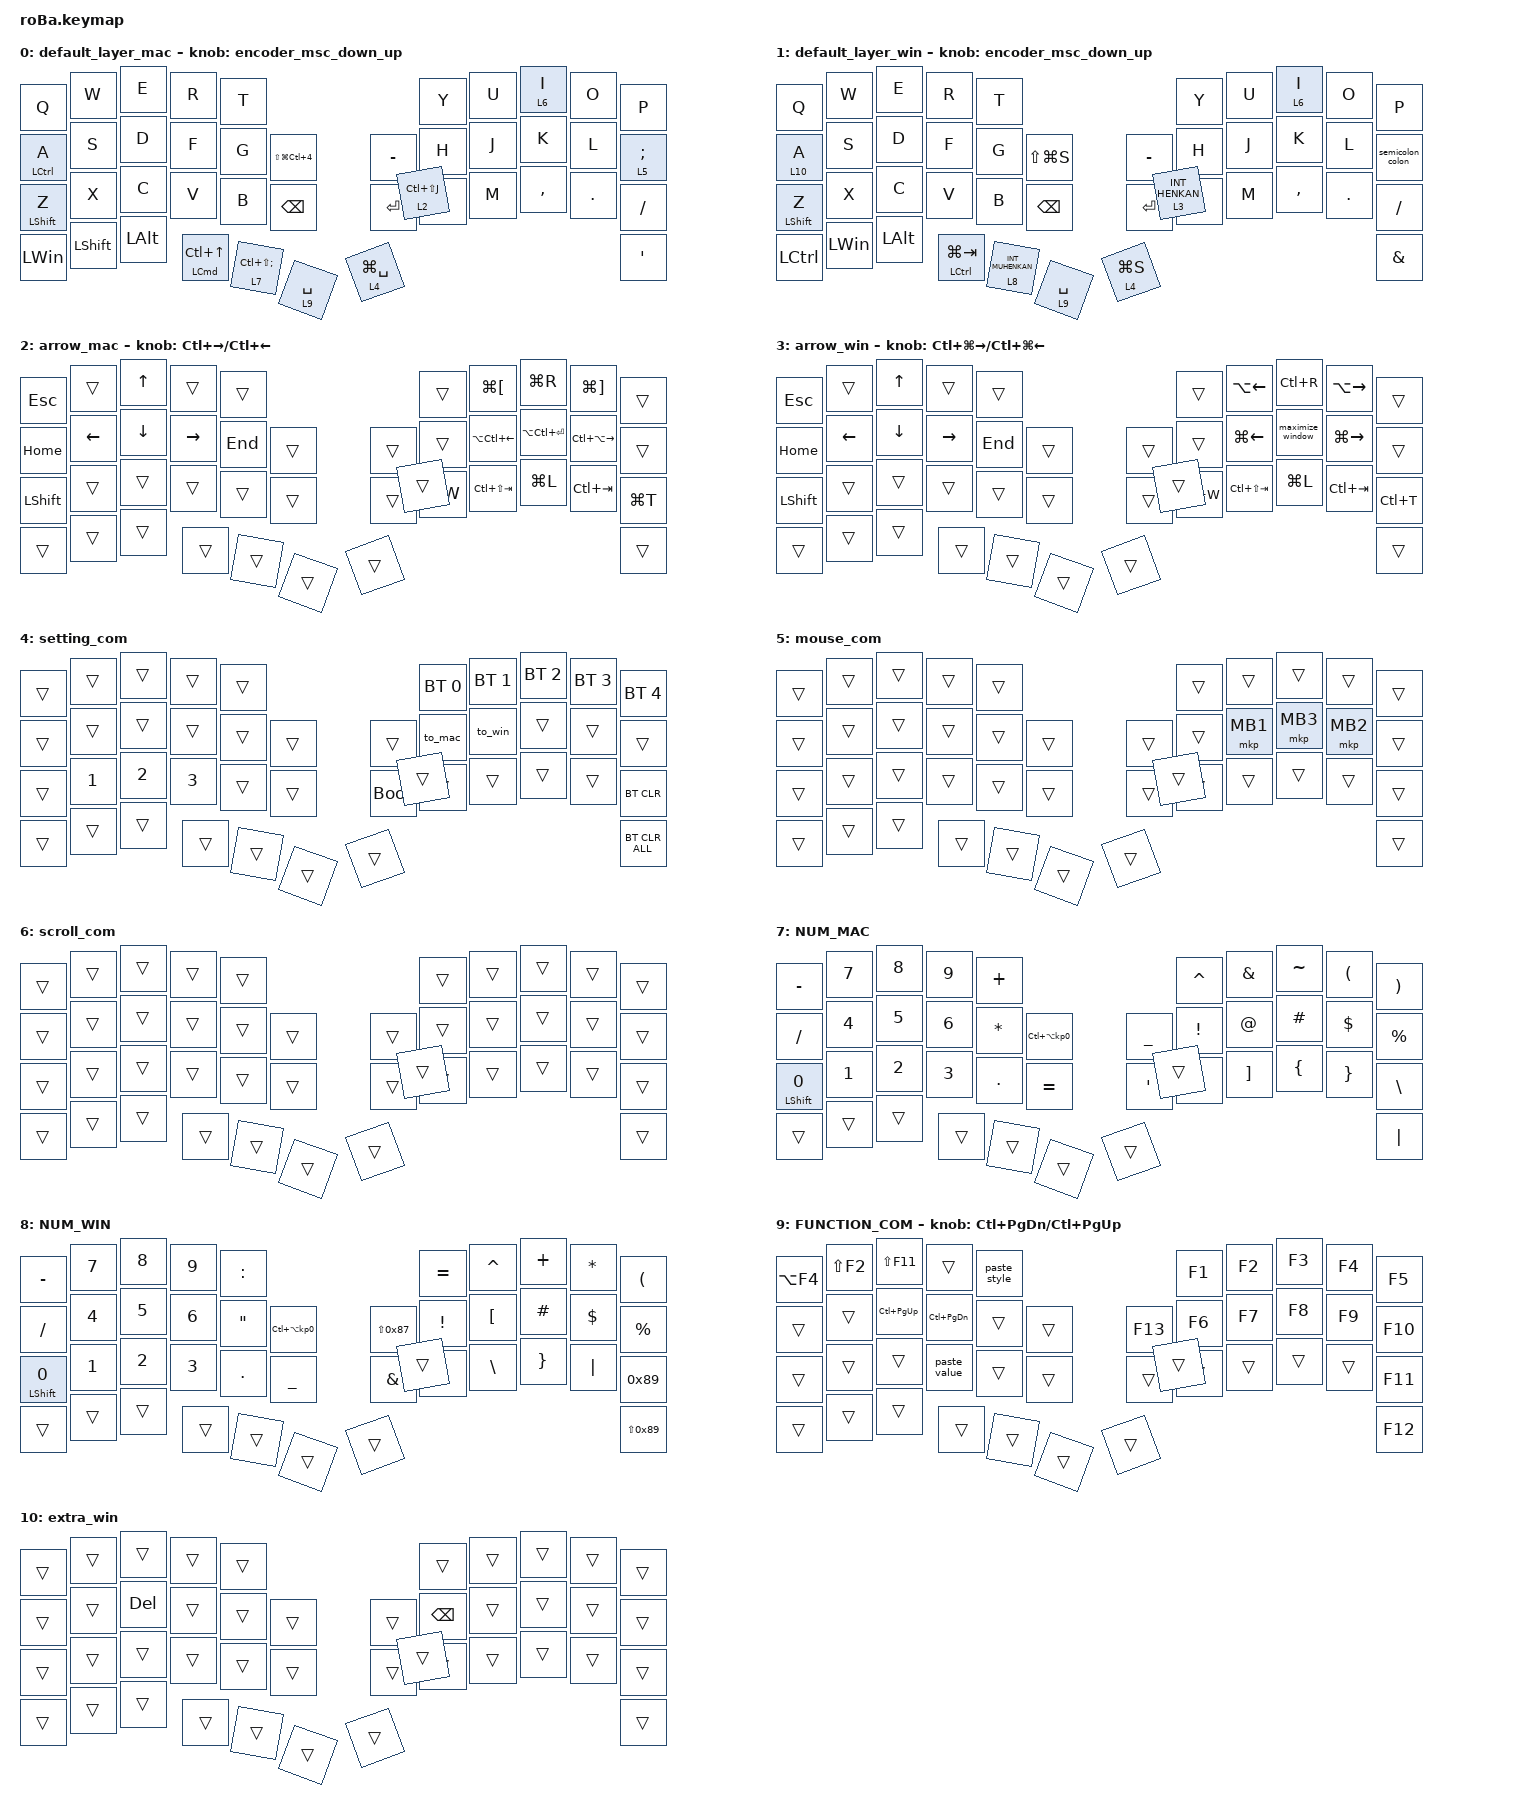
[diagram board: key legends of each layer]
#include <behaviors.dtsi>
#include <dt-bindings/zmk/bt.h>
#include <dt-bindings/zmk/keys.h>
#include <dt-bindings/zmk/pointing.h>

#define ZMK_POINTING_DEFAULT_SCRL_VAL 80
// OS設定を日本語キーボードのまま使用するための変換定義
#define JP_DQUOTE       AT                // "
#define JP_AMPERSAND    CARET             // &
#define JP_QUOTE        AMPERSAND         // '
#define JP_EQUAL        UNDER             // =
#define JP_CARET        EQUAL             // ^
#define JP_YEN          0x89              // ¥
#define JP_PLUS         COLON             // +
#define JP_TILDE        PLUS              // ~
#define JP_PIPE         LS(0x89)          // |
#define JP_AT           LEFT_BRACKET      // @
#define JP_COLON        SINGLE_QUOTE      // :
#define JP_ASTERISK     DOUBLE_QUOTES     // *
#define JP_BACKQUOTE    LEFT_BRACE        // `
#define JP_UNDERSCORE   LS(0x87)          // _
#define JP_LBRACKET     RIGHT_BRACKET     // [
#define JP_RBRACKET     BACKSLASH         // ]
#define JP_LPAREN       ASTERISK          // (
#define JP_RPAREN       LEFT_PARENTHESIS  // )
#define JP_LBRACE       RIGHT_BRACE       // {
#define JP_RBRACE       PIPE              // }
#define JP_KANA         LANGUAGE_1        // かな
#define JP_EISU         LANGUAGE_2        // 英数
#define JP_HANZEN       GRAVE             // 半角/全角

&mt {
    flavor = "balanced";
    quick-tap-ms = <0>;
};

&trackball {
    automouse-layer = <5>;
    scroll-layers = <6>;

    // arrows {
    //     layers = <3>;
    //     bindings =
    //         <&kp RIGHT_ARROW>,
    //         <&kp LEFT_ARROW>,
    //         <&kp UP_ARROW>,
    //         <&kp DOWN_ARROW>;
    //     tick = <10>;
    //     wait-ms = <5>;
    //     tap-ms = <5>;
    // };
};

/ {
    combos {
        compatible = "zmk,combos";

        tab {
            bindings = <&kp TAB>;
            key-positions = <11 12>;
        };

        shift_tab {
            bindings = <&kp LS(TAB)>;
            key-positions = <12 13>;
        };

        muhennkann {
            bindings = <&to_layer_0 INT_MUHENKAN>;
            key-positions = <11 10>;
        };

        double_quotation {
            bindings = <&kp DOUBLE_QUOTES>;
            key-positions = <20 21>;
            layers = <0 2 7>;
        };

        double_quotation_win {
            bindings = <&kp AT>;
            key-positions = <20 21>;
            layers = <1 3 8>;
        };

        eq {
            bindings = <&kp EQUAL>;
            key-positions = <24 25>;
            layers = <0 2 7>;
        };

        minus {
            bindings = <&kp MINUS>;
            key-positions = <18 19>;
        };

        eq_win {
            bindings = <&kp UNDER>;
            key-positions = <24 25>;
            layers = <1 3 8>;
        };
    };

    macros {
        to_layer_0: to_layer_0 {
            compatible = "zmk,behavior-macro-one-param";
            #binding-cells = <1>;
            bindings = <&to 0 &macro_param_1to1 &kp MACRO_PLACEHOLDER>;
            label = "TO_LAYER_0";
        };

        maximize_window: maximize_window {
            compatible = "zmk,behavior-macro";
            #binding-cells = <0>;
            bindings = <&kp LA(SPACE) &kp X>;
            label = "MAXIMIZE_WINDOW";
        };

        to_mac: to_mac {
            compatible = "zmk,behavior-macro";
            #binding-cells = <0>;
            bindings =
                <&tog_off 0 &tog_off 1>,
                <&macro_wait_time 200>,
                <&tog_on 0>;

            label = "TO_MAC";
        };

        to_win: to_win {
            compatible = "zmk,behavior-macro";
            #binding-cells = <0>;
            bindings =
                <&tog_off 0 &tog_off 1>,
                <&macro_wait_time 200>,
                <&tog_on 1>;

            label = "TO_WIN";
        };

        paste_value: paste_value {
            compatible = "zmk,behavior-macro";
            #binding-cells = <0>;
            bindings = <&kp LA(LC(V)) &kp V &kp RETURN>;
            label = "PASTE_VALUE";
        };

        paste_style: paste_style {
            compatible = "zmk,behavior-macro";
            #binding-cells = <0>;
            bindings = <&kp LA(LC(V)) &kp T &kp RETURN>;
            label = "PASTE_STYLE";
        };
    };

    behaviors {
        lt_to_layer_0: lt_to_layer_0 {
            compatible = "zmk,behavior-hold-tap";
            label = "LAYER_TAP_TO_0";
            bindings = <&mo>, <&to_layer_0>;

            #binding-cells = <2>;
            tapping-term-ms = <200>;
        };

        encoder_msc_down_up: encoder_msc_down_up {
            compatible = "zmk,behavior-sensor-rotate";
            label = "ENCODER_MSC_DOWN_UP";
            #sensor-binding-cells = <0>;
            bindings = <&msc SCRL_DOWN>, <&msc SCRL_UP>;

            tap-ms = <20>;
        };

        tog_on: toggle_layer_on_only {
            compatible = "zmk,behavior-toggle-layer";
            #binding-cells = <1>;
            display-name = "Toggle Layer On";
            toggle-mode = "on";
        };

        tog_off: toggle_layer_off_only {
            compatible = "zmk,behavior-toggle-layer";
            #binding-cells = <1>;
            display-name = "Toggle Layer Off";
            toggle-mode = "off";
        };

        semicolon_colon: semicolon_colon {
            compatible = "zmk,behavior-mod-morph";
            label = "SEMICOLON_COLON";
            bindings = <&lt 5 SEMICOLON>, <&kp COLON>;

            #binding-cells = <0>;
            mods = <(MOD_LSFT|MOD_RSFT)>;
        };
    };

    keymap {
        compatible = "zmk,keymap";

        default_layer_mac {
            bindings = <
&kp Q               &kp W           &kp E         &kp R                          &kp T                                                                   &kp Y            &kp U  &lt 6 I    &kp O    &kp P
&mt LEFT_CONTROL A  &kp S           &kp D         &kp F                          &kp G                    &kp LS(LG(LC(NUMBER_4)))      &kp MINUS        &kp H            &kp J  &kp K      &kp L    &lt 5 SEMICOLON
&mt LSHIFT Z        &kp X           &kp C         &kp V                          &kp B                    &kp BACKSPACE                 &kp RETURN       &kp N            &kp M  &kp COMMA  &kp DOT  &kp SLASH
&kp LEFT_WIN        &kp LEFT_SHIFT  &kp LEFT_ALT  &mt LEFT_COMMAND LC(UP_ARROW)  &lt 7 LC(LS(SEMICOLON))  &lt 9 SPACE                   &lt 4 LG(SPACE)  &lt 2 LC(LS(J))                             &kp SINGLE_QUOTE
            >;

            sensor-bindings = <&encoder_msc_down_up>;
        };

        default_layer_win {
            bindings = <
&kp Q         &kp W         &kp E         &kp R                     &kp T                                               &kp Y             &kp U  &lt 6 I    &kp O    &kp P
&lt 10 A      &kp S         &kp D         &kp F                     &kp G               &kp LS(LG(S))      &kp MINUS    &kp H             &kp J  &kp K      &kp L    &semicolon_colon
&mt LSHIFT Z  &kp X         &kp C         &kp V                     &kp B               &kp BACKSPACE      &kp RETURN   &kp N             &kp M  &kp COMMA  &kp DOT  &kp SLASH
&kp LCTRL     &kp LEFT_WIN  &kp LEFT_ALT  &mt LEFT_CONTROL LG(TAB)  &lt 8 INT_MUHENKAN  &lt 9 SPACE        &lt 4 LG(S)  &lt 3 INT_HENKAN                             &kp AMPERSAND
            >;

            sensor-bindings = <&encoder_msc_down_up>;
        };

        arrow_mac {
            bindings = <
&kp ESCAPE      &trans          &kp UP_ARROW    &trans           &trans                       &trans     &kp LG(LEFT_BRACKET)  &kp LG(R)           &kp LG(RIGHT_BRACKET)  &trans
&kp HOME        &kp LEFT_ARROW  &kp DOWN_ARROW  &kp RIGHT_ARROW  &kp END  &trans      &trans  &trans     &kp LA(LC(LEFT))      &kp LA(LC(RETURN))  &kp LC(LA(RIGHT))      &trans
&kp LEFT_SHIFT  &trans          &trans          &trans           &trans   &trans      &trans  &kp LG(W)  &kp LC(LS(TAB))       &kp LG(L)           &kp LC(TAB)            &kp LG(T)
&trans          &trans          &trans          &trans           &trans   &trans      &trans  &trans                                                                      &trans
            >;

            sensor-bindings = <&inc_dec_kp LC(RIGHT) LC(LEFT)>;
        };

        arrow_win {
            bindings = <
&kp ESCAPE      &trans          &kp UP_ARROW    &trans           &trans                       &trans     &kp LA(LEFT)     &kp LC(R)         &kp LA(RIGHT)  &trans
&kp HOME        &kp LEFT_ARROW  &kp DOWN_ARROW  &kp RIGHT_ARROW  &kp END  &trans      &trans  &trans     &kp LG(LEFT)     &maximize_window  &kp LG(RIGHT)  &trans
&kp LEFT_SHIFT  &trans          &trans          &trans           &trans   &trans      &trans  &kp LC(W)  &kp LC(LS(TAB))  &kp LG(L)         &kp LC(TAB)    &kp LC(T)
&trans          &trans          &trans          &trans           &trans   &trans      &trans  &trans                                                       &trans
            >;

            sensor-bindings = <&inc_dec_kp LC(LG(RIGHT)) LC(LG(LEFT))>;
        };

        setting_com {
            bindings = <
&trans  &trans        &trans        &trans        &trans                           &bt BT_SEL 0  &bt BT_SEL 1  &bt BT_SEL 2  &bt BT_SEL 3  &bt BT_SEL 4
&trans  &trans        &trans        &trans        &trans  &trans      &trans       &to_mac       &to_win       &trans        &trans        &trans
&trans  &kp NUMBER_1  &kp NUMBER_2  &kp NUMBER_3  &trans  &trans      &bootloader  &trans        &trans        &trans        &trans        &bt BT_CLR
&trans  &trans        &trans        &trans        &trans  &trans      &trans       &trans                                                  &bt BT_CLR_ALL
            >;
        };

        mouse_com {
            bindings = <
&trans  &trans  &trans  &trans  &trans                      &trans  &trans    &trans    &trans    &trans
&trans  &trans  &trans  &trans  &trans  &trans      &trans  &trans  &mkp MB1  &mkp MB3  &mkp MB2  &trans
&trans  &trans  &trans  &trans  &trans  &trans      &trans  &trans  &trans    &trans    &trans    &trans
&trans  &trans  &trans  &trans  &trans  &trans      &trans  &trans                                &trans
            >;
        };

        scroll_com {
            bindings = <
&trans  &trans  &trans  &trans  &trans                      &trans  &trans  &trans  &trans  &trans
&trans  &trans  &trans  &trans  &trans  &trans      &trans  &trans  &trans  &trans  &trans  &trans
&trans  &trans  &trans  &trans  &trans  &trans      &trans  &trans  &trans  &trans  &trans  &trans
&trans  &trans  &trans  &trans  &trans  &trans      &trans  &trans                          &trans
            >;
        };

        NUM_MAC {
            bindings = <
&kp MINUS          &kp N7  &kp N8  &kp N9  &kp PLUS                                                     &kp CARET         &kp AMPERSAND      &kp TILDE       &kp LEFT_PARENTHESIS  &kp RIGHT_PARENTHESIS
&kp SLASH          &kp N4  &kp N5  &kp N6  &kp ASTERISK  &kp LC(LA(KP_NUMBER_0))      &kp UNDERSCORE    &kp EXCLAMATION   &kp AT_SIGN        &kp HASH        &kp DOLLAR            &kp PERCENT
&mt LEFT_SHIFT N0  &kp N1  &kp N2  &kp N3  &kp PERIOD    &kp EQUAL                    &kp SINGLE_QUOTE  &kp LEFT_BRACKET  &kp RIGHT_BRACKET  &kp LEFT_BRACE  &kp RIGHT_BRACE       &kp BACKSLASH
&trans             &trans  &trans  &trans  &trans        &trans                       &trans            &trans                                                                     &kp PIPE
            >;
        };

        NUM_WIN {
            bindings = <
&kp MINUS          &kp N7  &kp N8  &kp N9  &kp COLON                                                      &kp EQUAL          &kp CARET          &kp PLUS         &kp ASTERISK  &kp LEFT_PARENTHESIS
&kp SLASH          &kp N4  &kp N5  &kp N6  &kp DOUBLE_QUOTES  &kp LC(LA(KP_NUMBER_0))      &kp LS(0x87)   &kp EXCLAMATION    &kp LEFT_BRACKET  &kp HASH         &kp DOLLAR    &kp PERCENT
&mt LEFT_SHIFT N0  &kp N1  &kp N2  &kp N3  &kp PERIOD         &kp UNDER                    &kp AMPERSAND  &kp RIGHT_BRACKET  &kp BACKSLASH      &kp RIGHT_BRACE  &kp PIPE      &kp 0x89
&trans             &trans  &trans  &trans  &trans             &trans                       &trans         &trans                                                               &kp LS(0x89)
            >;
        };

        FUNCTION_COM {
            bindings = <
&kp LA(F4)  &kp LS(F2)  &kp LS(F11)      &trans         &paste_style                       &kp F1  &kp F2  &kp F3  &kp F4  &kp F5
&trans      &trans      &kp LC(PAGE_UP)  &kp LC(PG_DN)  &trans        &trans      &kp F13  &kp F6  &kp F7  &kp F8  &kp F9  &kp F10
&trans      &trans      &trans           &paste_value   &trans        &trans      &trans   &trans  &trans  &trans  &trans  &kp F11
&trans      &trans      &trans           &trans         &trans        &trans      &trans   &trans                          &kp F12
            >;

            sensor-bindings = <&inc_dec_kp LC(PG_DN) LC(PG_UP)>;
        };

        extra_win {
            bindings = <
&trans  &trans  &trans      &trans  &trans                      &trans         &trans  &trans  &trans  &trans
&trans  &trans  &kp DELETE  &trans  &trans  &trans      &trans  &kp BACKSPACE  &trans  &trans  &trans  &trans
&trans  &trans  &trans      &trans  &trans  &trans      &trans  &trans         &trans  &trans  &trans  &trans
&trans  &trans  &trans      &trans  &trans  &trans      &trans  &trans                                 &trans
            >;
        };
    };
};
